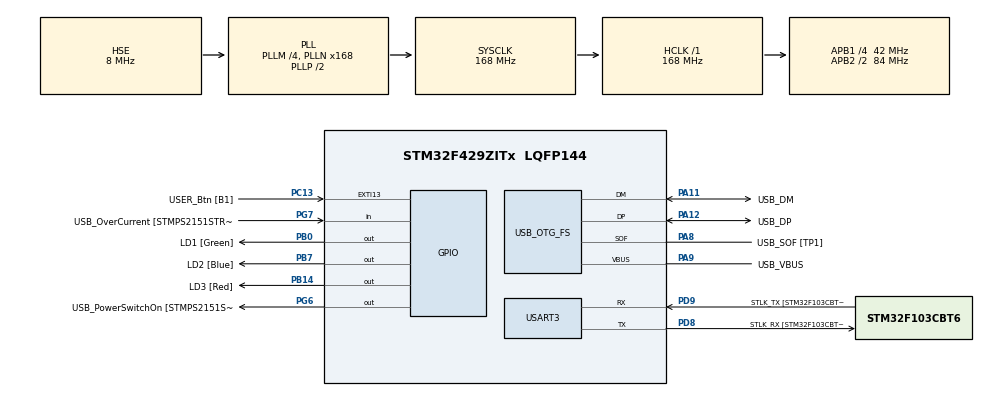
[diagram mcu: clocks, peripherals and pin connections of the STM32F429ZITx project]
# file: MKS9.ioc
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Mcu.Family=STM32F4
Mcu.Name=STM32F429ZITx
Mcu.Package=LQFP144
NVIC.OTG_FS_IRQn=true\:0\:0\:false\:false\:true\:false\:true\:true
NVIC.PriorityGroup=NVIC_PRIORITYGROUP_4
PA1.GPIO_Label=RMII_REF_CLK [LAN8742A-CZ-TR_REFCLK0]
PA1.Signal=ETH_REF_CLK
PA10.GPIO_Label=USB_ID
PA10.Signal=USB_OTG_FS_ID
PA11.GPIO_Label=USB_DM
PA11.Mode=Device_Only
PA11.Signal=USB_OTG_FS_DM
PA12.GPIO_Label=USB_DP
PA12.Mode=Device_Only
PA12.Signal=USB_OTG_FS_DP
PA13.GPIO_Label=TMS
PA13.Mode=Serial_Wire
PA13.Signal=SYS_JTMS-SWDIO
PA14.GPIO_Label=TCK
PA14.Mode=Serial_Wire
PA14.Signal=SYS_JTCK-SWCLK
PA2.GPIO_Label=RMII_MDIO [LAN8742A-CZ-TR_MDIO]
PA2.Signal=ETH_MDIO
PA7.GPIO_Label=RMII_CRS_DV [LAN8742A-CZ-TR_CRS_DV]
PA7.Signal=ETH_CRS_DV
PA8.GPIO_Label=USB_SOF [TP1]
PA8.Mode=Activate_SOF_FS
PA8.Signal=USB_OTG_FS_SOF
PA9.GPIO_Label=USB_VBUS
PA9.Mode=Activate_VBUS
PA9.Signal=USB_OTG_FS_VBUS
PB0.GPIO_Label=LD1 [Green]
PB0.Signal=GPIO_Output
PB13.GPIO_Label=RMII_TXD1 [LAN8742A-CZ-TR_TXD1]
PB13.Signal=ETH_TXD1
PB14.GPIO_Label=LD3 [Red]
PB14.Signal=GPIO_Output
PB7.GPIO_Label=LD2 [Blue]
PB7.Signal=GPIO_Output
PC1.GPIO_Label=RMII_MDC [LAN8742A-CZ-TR_MDC]
PC1.Signal=ETH_MDC
PC13.GPIO_Label=USER_Btn [B1]
PC13.Signal=GPXTI13
PC14/OSC32_IN.Mode=LSE-External-Oscillator
PC14/OSC32_IN.Signal=RCC_OSC32_IN
PC15/OSC32_OUT.Mode=LSE-External-Oscillator
PC15/OSC32_OUT.Signal=RCC_OSC32_OUT
PC4.GPIO_Label=RMII_RXD0 [LAN8742A-CZ-TR_RXD0]
PC4.Signal=ETH_RXD0
PC5.GPIO_Label=RMII_RXD1 [LAN8742A-CZ-TR_RXD1]
PC5.Signal=ETH_RXD1
PD8.GPIO_Label=STLK_RX [STM32F103CBT6_PA3]
PD8.Mode=Asynchronous
PD8.Signal=USART3_TX
PD9.GPIO_Label=STLK_TX [STM32F103CBT6_PA2]
PD9.Mode=Asynchronous
PD9.Signal=USART3_RX
PG11.GPIO_Label=RMII_TX_EN [LAN8742A-CZ-TR_TXEN]
PG11.Signal=ETH_TX_EN
PG13.GPIO_Label=RMII_TXD0 [LAN8742A-CZ-TR_TXD0]
PG13.Signal=ETH_TXD0
PG6.GPIO_Label=USB_PowerSwitchOn [STMPS2151STR_EN]
PG6.Signal=GPIO_Output
PG7.GPIO_Label=USB_OverCurrent [STMPS2151STR_FAULT]
PG7.Signal=GPIO_Input
PH0/OSC_IN.GPIO_Label=MCO [STM32F103CBT6_PA8]
PH0/OSC_IN.Mode=HSE-External-Clock-Source
PH0/OSC_IN.Signal=RCC_OSC_IN
PH1/OSC_OUT.Mode=HSE-External-Clock-Source
PH1/OSC_OUT.Signal=RCC_OSC_OUT
ProjectManager.HeapSize=0x200
ProjectManager.StackSize=0x400
ProjectManager.TargetToolchain=STM32CubeIDE
RCC.48MHZClocksFreq_Value=48000000
RCC.AHBFreq_Value=168000000
RCC.APB1CLKDivider=RCC_HCLK_DIV4
RCC.APB1Freq_Value=42000000
RCC.APB1TimFreq_Value=84000000
RCC.APB2CLKDivider=RCC_HCLK_DIV2
RCC.APB2Freq_Value=84000000
RCC.APB2TimCLKDivider=2
RCC.APB2TimFreq_Value=168000000
RCC.CortexFreq_Value=168000000
RCC.HCLKFreq_Value=168000000
RCC.HSE_VALUE=8000000
RCC.HSI_VALUE=16000000
RCC.PLLM=4
RCC.PLLMUL=RCC_PLL_MUL9
RCC.PLLN=168
RCC.PLLQ=7
RCC.PRESCALERUSB=RCC_USBCLKSOURCE_PLL_DIV1_5
RCC.SYSCLKFreq_VALUE=168000000
RCC.SYSCLKSource=RCC_SYSCLKSOURCE_PLLCLK
RCC.SYSCLKSourceVirtual=RCC_SYSCLKSOURCE_PLLCLK
RCC.USBFreq_Value=48000000
RCC.VCOOutputFreq_Value=336000000
USART3.VirtualMode=VM_ASYNC
USB_DEVICE.CLASS_NAME_FS=HID
USB_DEVICE.VirtualMode-HID_FS=Hid
USB_DEVICE.VirtualModeFS=Hid_FS
USB_OTG_FS.VirtualMode=Device_Only
VP_USB_DEVICE_VS_USB_DEVICE_HID_FS.Mode=HID_FS
board=NUCLEO-F429ZI

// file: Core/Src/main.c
/* USER CODE BEGIN Header */
/**
 ******************************************************************************
 * @file           : main.c
 * @brief          : Main program body
 ******************************************************************************
 * @attention
 *
 * Copyright (c) 2024 STMicroelectronics.
 * All rights reserved.
 *
 * This software is licensed under terms that can be found in the LICENSE file
 * in the root directory of this software component.
 * If no LICENSE file comes with this software, it is provided AS-IS.
 *
 ******************************************************************************
 */
/* USER CODE END Header */
#include "main.h"
#include "usb_device.h"

/* USER CODE BEGIN Includes */
#include "usbd_hid.h"
#include <math.h>
#include <stdbool.h>
/* USER CODE END Includes */

UART_HandleTypeDef huart3;

/* USER CODE BEGIN PV */
extern USBD_HandleTypeDef hUsbDeviceFS;
/* USER CODE END PV */

void SystemClock_Config(void);
static void MX_GPIO_Init(void);
static void MX_USART3_UART_Init(void);
/* USER CODE BEGIN PFP */
void step(int x, int y, bool btn)
{
	uint8_t buff[4];
	buff[0] = btn?0x01:0x00; // press the left button
	buff[1] = (int8_t)(x); // shift X +10
	buff[2] = (int8_t)(y); // shift Y -3
	buff[3] = 0; // no scroll

	USBD_HID_SendReport(&hUsbDeviceFS, buff, sizeof(buff));
	HAL_Delay(USBD_HID_GetPollingInterval(&hUsbDeviceFS));
}

void circle(int rad)
{
	float x = 0;
	float y = 0;
	static int32_t sx = 0;
	static int32_t sy = 0;
	int32_t dx = 0;
	int32_t dy = 0;
	static float fi = 0;
	for ( uint32_t i = 0; i < 51; ++i) {
		fi = 2*3.14*i/50;

		x = rad*cosf(fi);
		y = rad*sinf(fi);

		dx = x-sx;
		dy = y-sy;
		sx +=dx;
		sy +=dy;

		step(dx,dy, true);
	}
}

void semi_circle(int rad)
{
	float x = 0;
	float y = 0;
	static int32_t sx = 0;
	static int32_t sy = 0;
	int32_t dx = 0;
	int32_t dy = 0;
	static float fi = 0;
	for ( uint32_t i = 0; i < 26; ++i) {
		fi = 2*3.14*i/50;

		x = rad*cosf(fi);
		y = rad*sinf(fi);

		dx = x-sx;
		dy = y-sy;
		sx +=dx;
		sy +=dy;

		step(dx,dy, true);
	}
}
/* USER CODE END PFP */

int main(void)
{

	/* MCU Configuration--------------------------------------------------------*/

	/* Reset of all peripherals, Initializes the Flash interface and the Systick. */
	HAL_Init();

	/* Configure the system clock */
	SystemClock_Config();

	/* Initialize all configured peripherals */
	MX_GPIO_Init();
	MX_USART3_UART_Init();
	MX_USB_DEVICE_Init();
	/* USER CODE BEGIN 2 */

	/* Infinite loop */
	/* USER CODE BEGIN WHILE */
	while (1)
	{
		if (HAL_GPIO_ReadPin(USER_Btn_GPIO_Port, USER_Btn_Pin))
		{
			static int radius = 100;
			HAL_GPIO_TogglePin(LD1_GPIO_Port, LD1_Pin);
			//head
			circle(radius);
			step(0,0, false);
			//left eye
			step(radius/3,-radius/5, false);
			circle(radius/5);
			step(0,0, false);
			//right eye
			step(radius/2,0, false);
			circle(radius/5);
			step(0,0, false);
			//nose
			step(-radius/3,radius/10, true);
			step(0,radius/3, false);
			//smiley face
			step(-radius/3,radius/20, false);
			//step(50,0, false);
			semi_circle(radius/2);
			step(0,0, false);
		}
		/* USER CODE END 2 */
		/* USER CODE END WHILE */

	}
}

void SystemClock_Config(void)
{
	RCC_OscInitTypeDef RCC_OscInitStruct = {0};
	RCC_ClkInitTypeDef RCC_ClkInitStruct = {0};

	/** Configure the main internal regulator output voltage
	 */
	__HAL_RCC_PWR_CLK_ENABLE();
	__HAL_PWR_VOLTAGESCALING_CONFIG(PWR_REGULATOR_VOLTAGE_SCALE1);

	/** Initializes the RCC Oscillators according to the specified parameters
	 * in the RCC_OscInitTypeDef structure.
	 */
	RCC_OscInitStruct.OscillatorType = RCC_OSCILLATORTYPE_HSE;
	RCC_OscInitStruct.HSEState = RCC_HSE_BYPASS;
	RCC_OscInitStruct.PLL.PLLState = RCC_PLL_ON;
	RCC_OscInitStruct.PLL.PLLSource = RCC_PLLSOURCE_HSE;
	RCC_OscInitStruct.PLL.PLLM = 4;
	RCC_OscInitStruct.PLL.PLLN = 168;
	RCC_OscInitStruct.PLL.PLLP = RCC_PLLP_DIV2;
	RCC_OscInitStruct.PLL.PLLQ = 7;
	if (HAL_RCC_OscConfig(&RCC_OscInitStruct) != HAL_OK)
	{
		Error_Handler();
	}

	/** Initializes the CPU, AHB and APB buses clocks
	 */
	RCC_ClkInitStruct.ClockType = RCC_CLOCKTYPE_HCLK|RCC_CLOCKTYPE_SYSCLK
			|RCC_CLOCKTYPE_PCLK1|RCC_CLOCKTYPE_PCLK2;
	RCC_ClkInitStruct.SYSCLKSource = RCC_SYSCLKSOURCE_PLLCLK;
	RCC_ClkInitStruct.AHBCLKDivider = RCC_SYSCLK_DIV1;
	RCC_ClkInitStruct.APB1CLKDivider = RCC_HCLK_DIV4;
	RCC_ClkInitStruct.APB2CLKDivider = RCC_HCLK_DIV2;

	if (HAL_RCC_ClockConfig(&RCC_ClkInitStruct, FLASH_LATENCY_5) != HAL_OK)
	{
		Error_Handler();
	}
}

static void MX_USART3_UART_Init(void)
{

	huart3.Instance = USART3;
	huart3.Init.BaudRate = 115200;
	huart3.Init.WordLength = UART_WORDLENGTH_8B;
	huart3.Init.StopBits = UART_STOPBITS_1;
	huart3.Init.Parity = UART_PARITY_NONE;
	huart3.Init.Mode = UART_MODE_TX_RX;
	huart3.Init.HwFlowCtl = UART_HWCONTROL_NONE;
	huart3.Init.OverSampling = UART_OVERSAMPLING_16;
	if (HAL_UART_Init(&huart3) != HAL_OK)
	{
		Error_Handler();
	}

}

static void MX_GPIO_Init(void)
{
	GPIO_InitTypeDef GPIO_InitStruct = {0};

	/* GPIO Ports Clock Enable */
	__HAL_RCC_GPIOC_CLK_ENABLE();
	__HAL_RCC_GPIOH_CLK_ENABLE();
	__HAL_RCC_GPIOA_CLK_ENABLE();
	__HAL_RCC_GPIOB_CLK_ENABLE();
	__HAL_RCC_GPIOD_CLK_ENABLE();
	__HAL_RCC_GPIOG_CLK_ENABLE();

	/*Configure GPIO pin Output Level */
	HAL_GPIO_WritePin(GPIOB, LD1_Pin|LD3_Pin|LD2_Pin, GPIO_PIN_RESET);

	/*Configure GPIO pin Output Level */
	HAL_GPIO_WritePin(USB_PowerSwitchOn_GPIO_Port, USB_PowerSwitchOn_Pin, GPIO_PIN_RESET);

	/*Configure GPIO pin : USER_Btn_Pin */
	GPIO_InitStruct.Pin = USER_Btn_Pin;
	GPIO_InitStruct.Mode = GPIO_MODE_IT_RISING;
	GPIO_InitStruct.Pull = GPIO_NOPULL;
	HAL_GPIO_Init(USER_Btn_GPIO_Port, &GPIO_InitStruct);

	/*Configure GPIO pins : RMII_MDC_Pin RMII_RXD0_Pin RMII_RXD1_Pin */
	GPIO_InitStruct.Pin = RMII_MDC_Pin|RMII_RXD0_Pin|RMII_RXD1_Pin;
	GPIO_InitStruct.Mode = GPIO_MODE_AF_PP;
	GPIO_InitStruct.Pull = GPIO_NOPULL;
	GPIO_InitStruct.Speed = GPIO_SPEED_FREQ_VERY_HIGH;
	GPIO_InitStruct.Alternate = GPIO_AF11_ETH;
	HAL_GPIO_Init(GPIOC, &GPIO_InitStruct);

	/*Configure GPIO pins : RMII_REF_CLK_Pin RMII_MDIO_Pin RMII_CRS_DV_Pin */
	GPIO_InitStruct.Pin = RMII_REF_CLK_Pin|RMII_MDIO_Pin|RMII_CRS_DV_Pin;
	GPIO_InitStruct.Mode = GPIO_MODE_AF_PP;
	GPIO_InitStruct.Pull = GPIO_NOPULL;
	GPIO_InitStruct.Speed = GPIO_SPEED_FREQ_VERY_HIGH;
	GPIO_InitStruct.Alternate = GPIO_AF11_ETH;
	HAL_GPIO_Init(GPIOA, &GPIO_InitStruct);

	/*Configure GPIO pins : LD1_Pin LD3_Pin LD2_Pin */
	GPIO_InitStruct.Pin = LD1_Pin|LD3_Pin|LD2_Pin;
	GPIO_InitStruct.Mode = GPIO_MODE_OUTPUT_PP;
	GPIO_InitStruct.Pull = GPIO_NOPULL;
	GPIO_InitStruct.Speed = GPIO_SPEED_FREQ_LOW;
	HAL_GPIO_Init(GPIOB, &GPIO_InitStruct);

	/*Configure GPIO pin : RMII_TXD1_Pin */
	GPIO_InitStruct.Pin = RMII_TXD1_Pin;
	GPIO_InitStruct.Mode = GPIO_MODE_AF_PP;
	GPIO_InitStruct.Pull = GPIO_NOPULL;
	GPIO_InitStruct.Speed = GPIO_SPEED_FREQ_VERY_HIGH;
	GPIO_InitStruct.Alternate = GPIO_AF11_ETH;
	HAL_GPIO_Init(RMII_TXD1_GPIO_Port, &GPIO_InitStruct);

	/*Configure GPIO pin : USB_PowerSwitchOn_Pin */
	GPIO_InitStruct.Pin = USB_PowerSwitchOn_Pin;
	GPIO_InitStruct.Mode = GPIO_MODE_OUTPUT_PP;
	GPIO_InitStruct.Pull = GPIO_NOPULL;
	GPIO_InitStruct.Speed = GPIO_SPEED_FREQ_LOW;
	HAL_GPIO_Init(USB_PowerSwitchOn_GPIO_Port, &GPIO_InitStruct);

	/*Configure GPIO pin : USB_OverCurrent_Pin */
	GPIO_InitStruct.Pin = USB_OverCurrent_Pin;
	GPIO_InitStruct.Mode = GPIO_MODE_INPUT;
	GPIO_InitStruct.Pull = GPIO_NOPULL;
	HAL_GPIO_Init(USB_OverCurrent_GPIO_Port, &GPIO_InitStruct);

	/*Configure GPIO pins : RMII_TX_EN_Pin RMII_TXD0_Pin */
	GPIO_InitStruct.Pin = RMII_TX_EN_Pin|RMII_TXD0_Pin;
	GPIO_InitStruct.Mode = GPIO_MODE_AF_PP;
	GPIO_InitStruct.Pull = GPIO_NOPULL;
	GPIO_InitStruct.Speed = GPIO_SPEED_FREQ_VERY_HIGH;
	GPIO_InitStruct.Alternate = GPIO_AF11_ETH;
	HAL_GPIO_Init(GPIOG, &GPIO_InitStruct);

}

void Error_Handler(void)
{
	__disable_irq();
	while (1)
	{
	}
}
